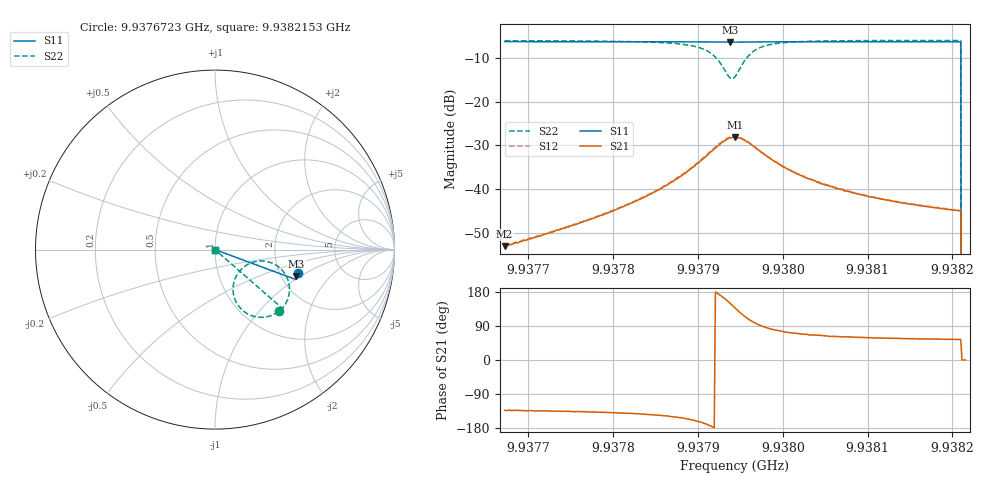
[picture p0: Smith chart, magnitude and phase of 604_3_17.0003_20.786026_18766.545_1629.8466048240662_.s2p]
#  HZ  S  RI  R  50.00
! Rohde & Schwarz Vector Network Analyzer
! Rohde-Schwarz,ZNB20-2Port,1311601062101988,3.16
! Created: UTC 3/20/2024, 11:19:10 PM
! freq[Hz]  re:S11  im:S11  re:S21  im:S21  re:S12  im:S12  re:S22  im:S22
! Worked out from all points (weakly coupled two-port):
!   401 points, 9.9376723 GHz to 9.9382153 GHz, reference 50 ohm
!   highest |S21| = -28.13 dB at 9.9379438 GHz (marker M1); lowest = -53.0 dB at 9.9376723 GHz (marker M2)
!   lowest |S11| = -6.4 dB at 9.9379383 GHz (marker M3), VSWR 2.82, Z = 120 - j46.1 ohm
!   |S11| at or under -10 dB: 9.9382099 GHz to end of sweep
!   |S22| runs from - to -6.1 dB; largest |S21 - S12| = 0.0019
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9.93767225e9  0.4634 -0.1326  -0.00152 -0.00164  -0.00155 -0.00164  0.3548 -0.3445
9.93776321e9  0.4612 -0.139  -0.00301 -0.00289  -0.00313 -0.00287  0.3367 -0.3564
9.93781751e9  0.4594 -0.1427  -0.00515 -0.00424  -0.0053 -0.0042  0.3154 -0.3669
9.93785416e9  0.4582 -0.1453  -0.00818 -0.00555  -0.00845 -0.00553  0.2872 -0.3748
9.93788946e9  0.4566 -0.1479  -0.015 -0.00654  -0.0154 -0.00648  0.2296 -0.375
9.93790982e9  0.4551 -0.1491  -0.0233 -0.00454  -0.0241 -0.0041  0.1639 -0.3467
9.93792204e9  0.4537 -0.1494  -0.0302 0.00132  -0.0312 0.00221  0.116 -0.2886
9.93793154e9  0.4529 -0.1489  -0.034 0.011  -0.0347 0.0122  0.1013 -0.2056
9.93793833e9  0.4525 -0.1483  -0.0329 0.0197  -0.0331 0.0215  0.1253 -0.1361
9.93794104e9  0.4527 -0.1481  -0.0313 0.0234  -0.0311 0.025  0.1451 -0.111
9.93794376e9  0.4528 -0.1478  -0.0289 0.0265  -0.0284 0.0282  0.1692 -0.0905
9.93795055e9  0.4535 -0.1474  -0.0209 0.0318  -0.0201 0.033  0.24 -0.0644
9.93795869e9  0.4545 -0.1476  -0.0113 0.0326  -0.0103 0.0332  0.3165 -0.0746
9.93797227e9  0.4553 -0.1488  -0.00134 0.0276  -0.000381 0.0277  0.3866 -0.1305
9.93798448e9  0.4556 -0.15  0.00291 0.0225  0.00344 0.0226  0.4087 -0.1764
9.93800213e9  0.4557 -0.152  0.0049 0.017  0.00512 0.017  0.415 -0.222
9.93803471e9  0.4549 -0.1546  0.00529 0.0117  0.00547 0.0116  0.4082 -0.2668
9.93807815e9  0.4537 -0.1578  0.00456 0.00819  0.00471 0.00819  0.3968 -0.295
9.93812567e9  0.4526 -0.1609  0.00399 0.00625  0.00413 0.00621  0.3869 -0.3113
9.93820712e9  0.4503 -0.1664  0.00331 0.00462  0.00344 0.00459  0.3754 -0.3267
9.93821391e9  0 0  0 0  0 0  0 0
9.93821526e9  0 0  0 0  0 0  0 0
